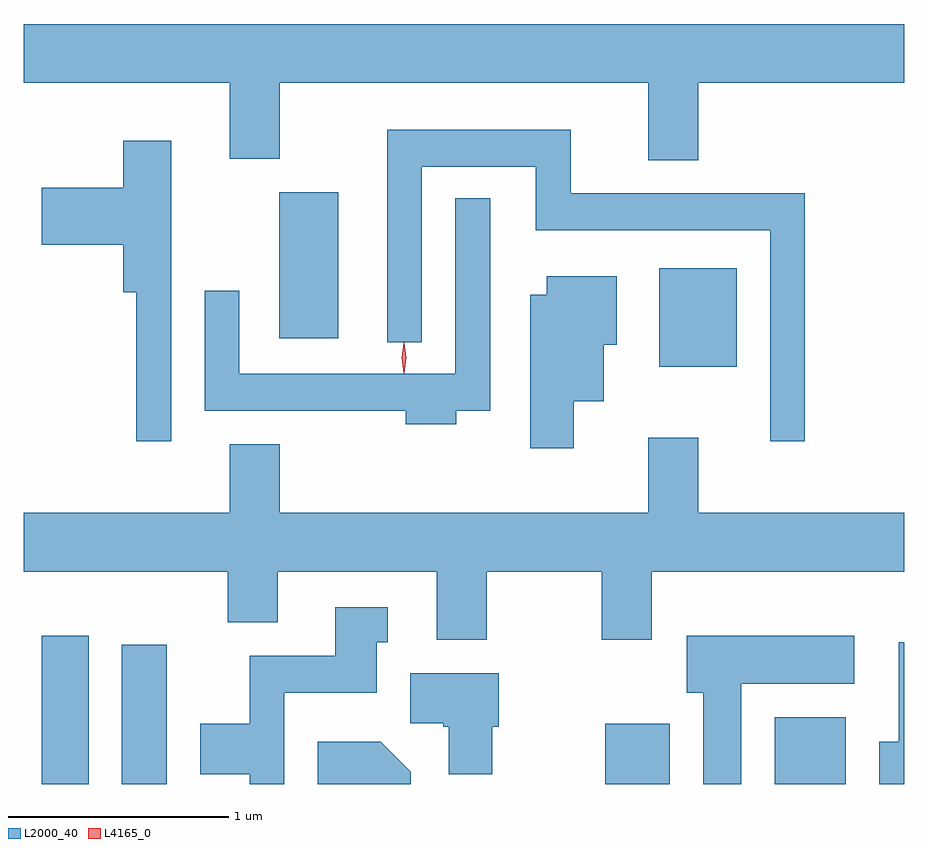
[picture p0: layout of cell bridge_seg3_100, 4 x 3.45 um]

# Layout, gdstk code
import gdstk
lib = gdstk.Library(unit=1e-6, precision=1e-09)
def R(c, l, rs):  # rectangles x0, y0, x1, y1
    for r in rs: c.add(gdstk.rectangle(r[:2], r[2:], *l))
def P(c, l, *ps):  # polygons
    for p in ps: c.add(gdstk.Polygon(p, *l))
L2000_40 = (2000, 40)
L4165_0 = (4165, 0)

bridge_seg3_100 = lib.new_cell('bridge_seg3_100')
R(bridge_seg3_100, L2000_40, [(948.636,1191.651,948.849,1192.324), (949.001,1191.651,949.204,1192.284), (951.196,1191.651,951.489,1191.924), (951.966,1191.651,952.289,1191.954), (951.441,1193.546,951.794,1193.994), (949.716,1193.676,949.984,1194.339)])
P(bridge_seg3_100, L2000_40, [(951.619,1194.836),(952.555,1194.836),(952.555,1195.104),(948.555,1195.104),(948.555,1194.836),(949.491,1194.836),(949.491,1194.491),(949.719,1194.491),(949.719,1194.836),(951.391,1194.836),(951.391,1194.486),(951.619,1194.486)],
  [(952.104,1194.334),(951.039,1194.334),(951.039,1194.624),(950.206,1194.624),(950.206,1193.658),(950.364,1193.658),(950.364,1194.456),(950.881,1194.456),(950.881,1194.166),(951.946,1194.166),(951.946,1193.208),(952.104,1193.208)],
  [(949.224,1194.574),(949.006,1194.574),(949.006,1194.359),(948.636,1194.359),(948.636,1194.101),(949.006,1194.101),(949.006,1193.886),(949.066,1193.886),(949.066,1193.208),(949.224,1193.208)],
  [(950.519,1193.346),(950.674,1193.346),(950.674,1194.313),(950.516,1194.313),(950.516,1193.514),(949.534,1193.514),(949.534,1193.893),(949.376,1193.893),(949.376,1193.346),(950.291,1193.346),(950.291,1193.286),(950.519,1193.286)],
  [(951.054,1193.391),(951.189,1193.391),(951.189,1193.646),(951.249,1193.646),(951.249,1193.959),(950.931,1193.959),(950.931,1193.874),(950.856,1193.874),(950.856,1193.176),(951.054,1193.176)],
  [(950.659,1192.616),(951.181,1192.616),(951.181,1192.306),(951.409,1192.306),(951.409,1192.616),(952.555,1192.616),(952.555,1192.884),(951.619,1192.884),(951.619,1193.224),(951.391,1193.224),(951.391,1192.884),(949.719,1192.884),(949.719,1193.194),(949.491,1193.194),(949.491,1192.884),(948.555,1192.884),(948.555,1192.616),(949.481,1192.616),(949.481,1192.386),(949.709,1192.386),(949.709,1192.616),(950.431,1192.616),(950.431,1192.306),(950.659,1192.306)],
  [(949.739,1192.066),(950.159,1192.066),(950.159,1192.296),(950.208,1192.296),(950.208,1192.454),(949.971,1192.454),(949.971,1192.234),(949.581,1192.234),(949.581,1191.924),(949.356,1191.924),(949.356,1191.696),(949.581,1191.696),(949.581,1191.651),(949.739,1191.651)],
  [(951.814,1192.106),(952.329,1192.106),(952.329,1192.324),(951.566,1192.324),(951.566,1192.066),(951.641,1192.066),(951.641,1191.651),(951.814,1191.651)],
  [(952.555,1192.294),(952.531,1192.294),(952.531,1191.844),(952.441,1191.844),(952.441,1191.651),(952.555,1191.651)],
  [(950.684,1191.911),(950.714,1191.911),(950.714,1192.154),(950.311,1192.154),(950.311,1191.926),(950.46,1191.926),(950.46,1191.911),(950.486,1191.911),(950.486,1191.696),(950.684,1191.696)],
  [(950.314,1191.707),(950.177,1191.844),(949.891,1191.844),(949.891,1191.651),(950.314,1191.651)])
P(bridge_seg3_100, L4165_0, [(950.282,1193.517),(950.273,1193.587),(950.282,1193.656),(950.283,1193.656),(950.283,1193.656),(950.293,1193.587),(950.283,1193.517),(950.283,1193.517)])

lib.write_gds('bridge_seg3_100.gds')
